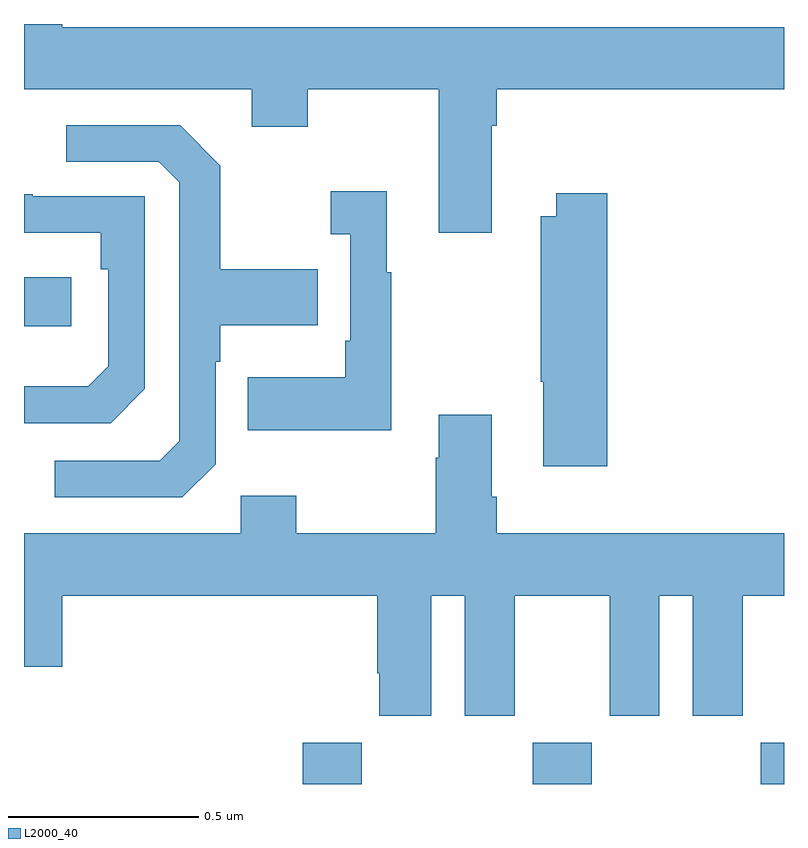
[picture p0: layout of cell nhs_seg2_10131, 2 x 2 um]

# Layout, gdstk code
import gdstk
lib = gdstk.Library(unit=1e-6, precision=1e-09)
def R(c, l, rs):  # rectangles x0, y0, x1, y1
    for r in rs: c.add(gdstk.rectangle(r[:2], r[2:], *l))
def P(c, l, *ps):  # polygons
    for p in ps: c.add(gdstk.Polygon(p, *l))
L2000_40 = (2000, 40)

nhs_seg2_10131 = lib.new_cell('nhs_seg2_10131')
R(nhs_seg2_10131, L2000_40, [(237.734,653.8,237.889,653.908), (238.339,653.8,238.494,653.908), (238.939,653.8,239,653.908), (237,655.004,237.124,655.134)])
P(nhs_seg2_10131, L2000_40, [(238.231,655.532),(238.244,655.532),(238.244,655.628),(239,655.628),(239,655.792),(237.1,655.792),(237.1,655.8),(237,655.8),(237,655.628),(237.599,655.628),(237.599,655.529),(237.747,655.529),(237.747,655.628),(238.091,655.628),(238.091,655.251),(238.231,655.251)],
  [(237.504,654.642),(237.504,654.911),(237.517,654.911),(237.517,655.007),(237.773,655.007),(237.773,655.155),(237.517,655.155),(237.517,655.427),(237.411,655.533),(237.111,655.533),(237.111,655.437),(237.354,655.437),(237.408,655.383),(237.408,654.702),(237.357,654.651),(237.081,654.651),(237.081,654.555),(237.417,654.555)],
  [(237.967,655.147),(237.955,655.147),(237.955,655.36),(237.807,655.36),(237.807,655.247),(237.858,655.247),(237.858,654.967),(237.846,654.967),(237.846,654.871),(237.589,654.871),(237.589,654.731),(237.967,654.731)],
  [(238.535,655.354),(238.4,655.354),(238.4,655.294),(238.36,655.294),(238.36,654.859),(238.367,654.859),(238.367,654.636),(238.535,654.636)],
  [(237.318,654.84),(237.318,655.347),(237.023,655.347),(237.023,655.352),(237,655.352),(237,655.251),(237.202,655.251),(237.202,655.154),(237.222,655.154),(237.222,654.9),(237.169,654.847),(237,654.847),(237,654.75),(237.228,654.75)],
  [(238.072,654.296),(238.16,654.296),(238.16,653.979),(238.291,653.979),(238.291,654.296),(238.541,654.296),(238.541,653.979),(238.672,653.979),(238.672,654.296),(238.76,654.296),(238.76,653.979),(238.891,653.979),(238.891,654.296),(239,654.296),(239,654.46),(238.244,654.46),(238.244,654.556),(238.231,654.556),(238.231,654.772),(238.091,654.772),(238.091,654.659),(238.084,654.659),(238.084,654.46),(237.717,654.46),(237.717,654.559),(237.57,654.559),(237.57,654.46),(237,654.46),(237,654.108),(237.1,654.108),(237.1,654.296),(237.929,654.296),(237.929,654.091),(237.935,654.091),(237.935,653.979),(238.072,653.979)])

lib.write_gds('nhs_seg2_10131.gds')
